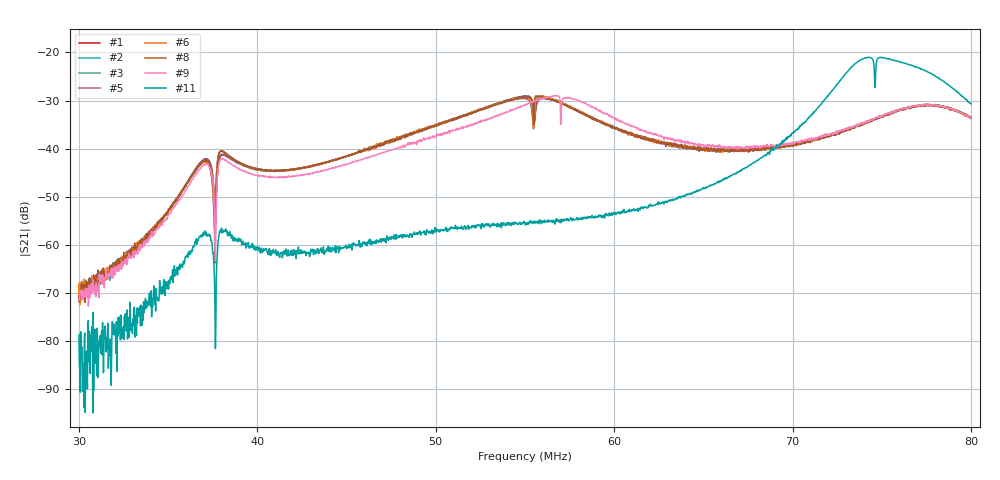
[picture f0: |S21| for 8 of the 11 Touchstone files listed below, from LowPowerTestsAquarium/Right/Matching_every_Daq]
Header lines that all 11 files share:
#  HZ  S  DB  R  50.00
! Rohde & Schwarz Vector Network Analyzer
! Rohde-Schwarz,ZNB8-4Port,1311601044102961,2.82
! freq[Hz]  db:S11  ang:S11  db:S12  ang:S12  db:S13  ang:S13  db:S14  ang:S14
!  db:S21  ang:S21  db:S22  ang:S22  db:S23  ang:S23  db:S24  ang:S24
!  db:S31  ang:S31  db:S32  ang:S32  db:S33  ang:S33  db:S34  ang:S34
!  db:S41  ang:S41  db:S42  ang:S42  db:S43  ang:S43  db:S44  ang:S44
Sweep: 30 MHz to 80 MHz
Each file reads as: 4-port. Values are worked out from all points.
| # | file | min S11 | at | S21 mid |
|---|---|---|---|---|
| 1 | IC3_Right_55p5MHz_DaqM08p0cm_1.s4p | -4.8 dB | 37.7 MHz | -29.1 dB at 55 MHz |
| 2 | IC3_Right_55p5MHz_DaqM08p0cm_3.s4p | -4.8 dB | 37.7 MHz | -29.5 dB at 55 MHz |
| 3 | IC3_Right_55p5MHz_DaqM09p0cm_1.s4p | -4.3 dB | 37.7 MHz | -29.1 dB at 55 MHz |
| 4 | IC3_Right_55p5MHz_DaqM09p0cm_3.s4p | -4.3 dB | 37.7 MHz | -29.4 dB at 55 MHz |
| 5 | IC3_Right_55p5MHz_DaqM10p0cm_1.s4p | -3.9 dB | 37.7 MHz | -29.1 dB at 55 MHz |
| 6 | IC3_Right_55p5MHz_DaqM10p0cm_3.s4p | -3.9 dB | 37.7 MHz | -29.6 dB at 55 MHz |
| 7 | IC3_Right_55p5MHz_DaqMLarge_1.s4p | -1.7 dB | 37.73 MHz | -29.3 dB at 55 MHz |
| 8 | IC3_Right_55p5MHz_DaqMLarge_3.s4p | -1.6 dB | 37.73 MHz | -29.4 dB at 55 MHz |
| 9 | IC3_Right_57p0MHz_DaqMLarge_1.s4p | -1.6 dB | 37.73 MHz | -30.8 dB at 55 MHz |
| 10 | IC3_Right_57p0MHz_DaqMLarge_3.s4p | -1.6 dB | 37.73 MHz | -30.9 dB at 55 MHz |
| 11 | IC3_Right_74p6MHz_DaqMLarge_1.s4p | -1.6 dB | 37.73 MHz | -55.4 dB at 55 MHz |
